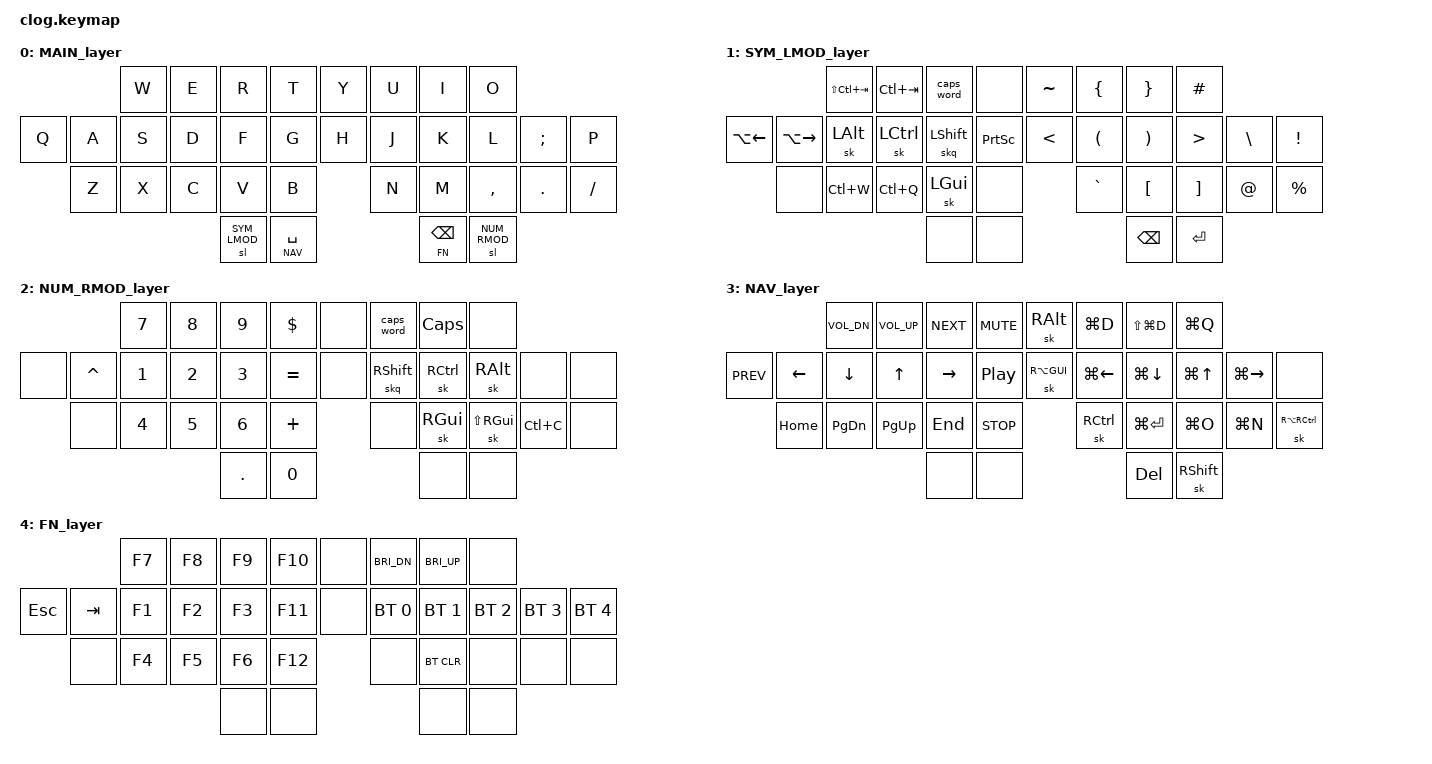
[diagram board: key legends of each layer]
#include <behaviors.dtsi>
#include <dt-bindings/zmk/keys.h>
#include <dt-bindings/zmk/bt.h>

#define MAIN 0
#define SYM_LMOD 1
#define NUM_RMOD 2
#define NAV 3
#define FN 4

&mt {
    flavor = "tap-preferred";
    tapping_term_ms = <180>;
};

/ {
    behaviors {
        comma_pipe: comma_pipe {
            compatible = "zmk,behavior-mod-morph";
            label = "COMMA_PIPE";
            #binding-cells = <0>;
            bindings = <&kp COMMA>, <&kp PIPE>;
            mods = <(MOD_LSFT|MOD_RSFT)>;
        };

        dot_and: dot_and {
            compatible = "zmk,behavior-mod-morph";
            label = "DOT_AND";
            #binding-cells = <0>;
            bindings = <&kp DOT>, <&kp AMPS>;
            mods = <(MOD_LSFT|MOD_RSFT)>;
        };

        fslash_star: fslash_star {
            compatible = "zmk,behavior-mod-morph";
            label = "FORWARDSLASH_STAR";
            #binding-cells = <0>;
            bindings = <&kp FSLH>, <&kp STAR>;
            mods = <(MOD_LSFT|MOD_RSFT)>;
        };

        dqt_qmark: dqt_qmark {
            compatible = "zmk,behavior-mod-morph";
            label = "DOUBLEQUOTE_QUESTION";
            #binding-cells = <0>;
            bindings = <&kp DQT>, <&kp QMARK>;
            mods = <(MOD_LSFT|MOD_RSFT)>;
        };

        skq: sticky_key_quick_release {
            compatible = "zmk,behavior-sticky-key";
            label = "STICKY_KEY_QUICK_RELEASE";
            #binding-cells = <1>;
            bindings = <&kp>;
            release-after-ms = <1000>;
            quick-release;
        };
    };

    combos {
        compatible = "zmk,combos";

        combo_j {
            timeout-ms = <30>;
            key-positions = <0 1>;
            bindings = <&kp J>;
            layers = <0>;
        };

        combo_q {
            timeout-ms = <30>;
            key-positions = <1 2>;
            bindings = <&kp Q>;
            layers = <0>;
        };

        combo_esc {
            timeout-ms = <30>;
            key-positions = <21 22>;
            bindings = <&kp ESC>;
            layers = <0>;
        };

        combo_tab {
            timeout-ms = <30>;
            key-positions = <22 23>;
            bindings = <&kp TAB>;
            layers = <0>;
        };
    };

    keymap {
        compatible = "zmk,keymap";

        MAIN_layer {
            bindings = <
                      &kp W &kp E &kp R        &kp T            &kp Y    &kp U &kp I &kp O
          &kp Q &kp A &kp S &kp D &kp F        &kp G            &kp H &kp J    &kp K        &kp L      &kp SEMI &kp P
                &kp Z &kp X &kp C &kp V        &kp B            &kp N   &kp M    &kp COMMA        &kp PERIOD      &kp FSLH
                                  &sl SYM_LMOD &lt NAV SPACE      &lt FN BACKSPACE    &sl NUM_RMOD
            >;
        };

        SYM_LMOD_layer {
            bindings = <
                              &kp LS(LC(TAB)) &kp LC(TAB) &caps_word &none          &kp TILDE &kp LBRC  &kp RBRC &kp HASH
   &kp LA(LEFT) &kp LA(RIGHT) &sk LALT        &sk LCTRL   &skq LSHFT &kp PSCRN      &kp LT    &kp LPAR  &kp RPAR &kp GT   &kp BSLH  &kp EXCL
                &none         &kp LC(W)       &kp LC(Q)   &sk LGUI   &none          &kp GRAVE &kp LBKT  &kp RBKT &kp AT   &kp PRCNT
                                                          &none      &none          &kp BSPC  &kp ENTER
            >;
        };

        NUM_RMOD_layer {
            bindings = <
                         &kp N7 &kp N8 &kp N9  &kp DLLR       &none &caps_word &kp CAPS     &none
         &none &kp CARET &kp N1 &kp N2 &kp N3  &kp EQUAL      &none &skq RSHFT &sk RCTRL    &sk RALT  &none &none
               &none     &kp N4 &kp N5 &kp N6  &kp PLUS       &none &sk RGUI   &sk LS(RGUI) &kp LC(C) &none
                                       &kp DOT &kp N0         &none &none
            >;
        };

        NAV_layer {
            bindings = <
                         &kp C_VOL_DN &kp C_VOL_UP &kp C_NEXT &kp C_MUTE      &sk RALT    &kp LG(D)     &kp LS(LG(D)) &kp LG(Q)
     &kp C_PREV &kp LEFT &kp DOWN     &kp UP       &kp RIGHT  &kp C_PP        &sk RA(GUI) &kp LG(LEFT)  &kp LG(DOWN)  &kp LG(UP) &kp LG(RIGHT) &none
                &kp HOME &kp PG_DN    &kp PG_UP    &kp END    &kp C_STOP      &sk RCTRL   &kp LG(ENTER) &kp LG(O)     &kp LG(N)  &sk RA(RCTRL)
                                                   &none      &none           &kp DEL     &sk RSHFT
            >;
        };

        FN_layer {
            bindings = <
                          &kp F7 &kp F8 &kp F9 &kp F10      &none &kp C_BRI_DN &kp C_BRI_UP &none
          &kp ESC &kp TAB &kp F1 &kp F2 &kp F3 &kp F11      &none &bt BT_SEL 0 &bt BT_SEL 1 &bt BT_SEL 2 &bt BT_SEL 3 &bt BT_SEL 4
                  &none &kp F4 &kp F5 &kp F6 &kp F12        &none &bt BT_CLR   &none        &none        &none
                                    &none  &none        &none &none
            >;
        };
    };
};
